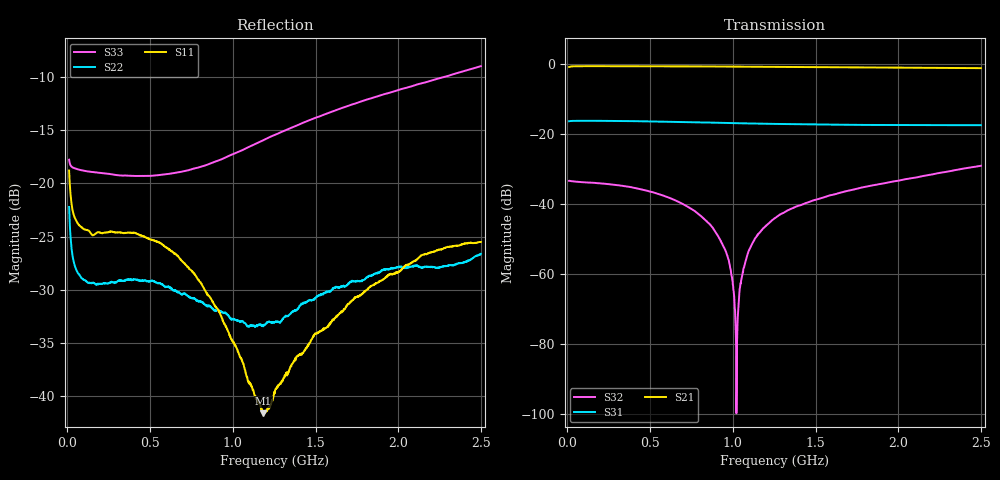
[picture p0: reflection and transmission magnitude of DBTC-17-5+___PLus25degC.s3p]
!Mini-Circuits Laboratory
!S-Parameters
!Model:DBTC-17-5+
!Run/Lot/Date Code:HW0160/NA/NA
!Fixture/SN/Due:90-3-20-98/72184/02-19-11
!Connection:PORT<1>-PIN(3):INPUT,PORT<2>-PIN(4):OUTPUT,PORT<3>-PIN(1):COUPLING;
!Tested With:PORT EXTENSION
!UNIT S/N -1
!Network Analyzer
!Agilent Technologies,E5071C,MY46100906,A.09.41
!Date: Mon Jun 28 11:01:59 2010
!Data & Calibration Information:
!Freq	S11:SOLT3(ON)	S12:SOLT3(ON)	S13:SOLT3(ON)
!	S21:SOLT3(ON)	S22:SOLT3(ON)	S23:SOLT3(ON)
!	S31:SOLT3(ON)	S32:SOLT3(ON)	S33:SOLT3(ON)
# Hz S dB R 50
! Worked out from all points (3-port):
!   1495 points, 10 MHz to 2.5 GHz, reference 50 ohm
!   strongest paths, dB at 10 MHz, 631.7 MHz, 1.255 GHz, 1.878 GHz, 2.5 GHz:
!     S21: -0.9, -0.7, -0.9, -1.0, -1.3
!     S31: -16.4, -16.6, -17.2, -17.5, -17.5
!     S32: -33.5, -38.6, -44.1, -34.5, -29.2
!   lowest |S11| = -41.6 dB at 1.185 GHz (marker M1), VSWR 1.02, Z = 50.3 + j0.785 ohm
!   |S11| at or under -10 dB: start of sweep to end of sweep
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1e7  -18.79 140.5  -0.85 3.2  -16.37 -178.1
     -0.92 4.3  -22.21 132.4  -33.51 -2.1
     -16.43 -177.2  -33.45 -1.7  -17.77 164.3
1.183333e8  -24.39 160.7  -0.69 -1.6  -16.29 172.6
            -0.69 -1.4  -29.27 153.3  -34.14 -9.1
            -16.30 172.7  -33.93 -9.3  -18.86 177.8
8.083333e8  -29.41 143.4  -0.77 -11.4  -16.71 132.5
            -0.77 -11.4  -31.16 131.5  -44.07 -55.0
            -16.74 132.4  -43.58 -48.6  -18.42 -162.5
9.65e8  -33.73 131.6  -0.80 -13.6  -16.88 125.0
        -0.80 -13.5  -32.33 132.7  -55.13 -76.4
        -16.91 125.0  -54.66 -52.8  -17.49 -159.4
9.966667e8  -34.86 127.1  -0.81 -14.0  -16.91 123.6
            -0.81 -13.9  -32.74 131.8  -60.27 -96.5
            -16.95 123.6  -61.76 -54.0  -17.27 -158.9
1.021667e9  -35.47 122.3  -0.81 -14.4  -16.93 122.5
            -0.82 -14.3  -32.88 131.7  -66.02 -143.4
            -16.98 122.5  -99.88 2.0  -17.10 -158.5
1.075e9  -37.58 113.0  -0.83 -15.1  -16.99 120.3
         -0.83 -15.0  -33.16 134.9  -56.37 134.9
         -17.03 120.2  -56.79 114.0  -16.73 -158.4
1.185e9  -41.63 70.4  -0.86 -16.6  -17.09 115.8
         -0.86 -16.5  -33.40 138.5  -47.27 119.4
         -17.13 115.8  -46.97 114.3  -15.93 -158.6
1.255e9  -39.52 37.1  -0.88 -17.5  -17.16 113.2
         -0.89 -17.5  -33.06 141.0  -44.21 114.9
         -17.19 113.2  -44.08 113.4  -15.42 -159.1
2.5e9  -25.51 -20.5  -1.26 -35.0  -17.53 79.5
       -1.26 -35.0  -26.63 117.2  -29.14 93.8
       -17.55 79.5  -29.16 93.5  -8.97 150.1
